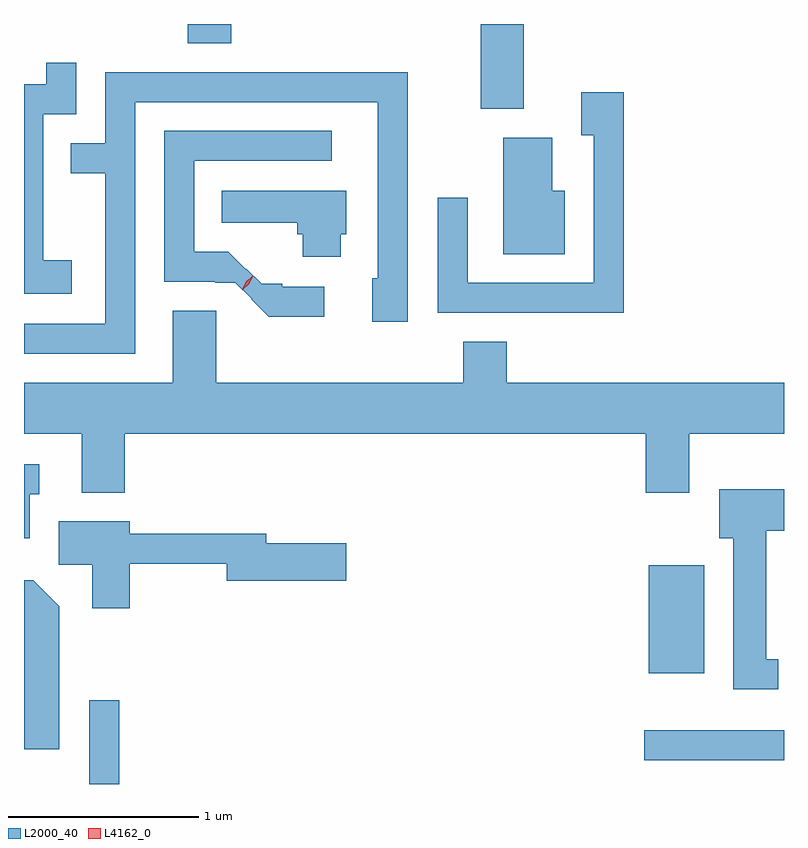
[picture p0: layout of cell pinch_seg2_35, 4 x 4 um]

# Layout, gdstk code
import gdstk
lib = gdstk.Library(unit=1e-6, precision=1e-09)
def R(c, l, rs):  # rectangles x0, y0, x1, y1
    for r in rs: c.add(gdstk.rectangle(r[:2], r[2:], *l))
def P(c, l, *ps):  # polygons
    for p in ps: c.add(gdstk.Polygon(p, *l))
L2000_40 = (2000, 40)
L4162_0 = (4162, 0)

pinch_seg2_35 = lib.new_cell('pinch_seg2_35')
R(pinch_seg2_35, L2000_40, [(825.041,1070.892,825.199,1071.333), (827.963,1071.016,828.698,1071.174), (827.986,1071.476,828.279,1072.044), (827.101,1074.446,827.329,1074.892), (825.561,1074.791,825.789,1074.892)])
P(pinch_seg2_35, L2000_40, [(824.949,1073.649),(824.799,1073.649),(824.799,1074.416),(824.974,1074.416),(824.974,1074.688),(824.816,1074.688),(824.816,1074.574),(824.698,1074.574),(824.698,1073.471),(824.949,1073.471)],
  [(825.284,1074.481),(826.561,1074.481),(826.561,1073.554),(826.531,1073.554),(826.531,1073.326),(826.719,1073.326),(826.719,1074.639),(825.126,1074.639),(825.126,1074.264),(824.943,1074.264),(824.943,1074.106),(825.126,1074.106),(825.126,1073.314),(824.698,1073.314),(824.698,1073.156),(825.284,1073.156)],
  [(827.854,1074.534),(827.631,1074.534),(827.631,1074.306),(827.696,1074.306),(827.696,1073.529),(827.034,1073.529),(827.034,1073.978),(826.876,1073.978),(826.876,1073.371),(827.854,1073.371)],
  [(826.278,1073.509),(826.056,1073.509),(826.056,1073.525),(825.948,1073.525),(825.869,1073.604),(825.866,1073.601),(825.772,1073.694),(825.594,1073.694),(825.594,1074.171),(826.318,1074.171),(826.318,1074.329),(825.436,1074.329),(825.436,1073.536),(825.705,1073.536),(825.705,1073.529),(825.811,1073.529),(825.896,1073.445),(825.895,1073.444),(825.987,1073.351),(826.278,1073.351)],
  [(827.544,1074.014),(827.479,1074.014),(827.479,1074.294),(827.221,1074.294),(827.221,1073.681),(827.544,1073.681)],
  [(826.364,1073.786),(826.394,1073.786),(826.394,1074.014),(825.738,1074.014),(825.738,1073.846),(826.136,1073.846),(826.136,1073.786),(826.166,1073.786),(826.166,1073.666),(826.364,1073.666)],
  [(825.229,1072.736),(827.971,1072.736),(827.971,1072.426),(828.199,1072.426),(828.199,1072.736),(828.698,1072.736),(828.698,1073.004),(827.239,1073.004),(827.239,1073.219),(827.011,1073.219),(827.011,1073.004),(825.709,1073.004),(825.709,1073.384),(825.481,1073.384),(825.481,1073.004),(824.698,1073.004),(824.698,1072.736),(825.001,1072.736),(825.001,1072.426),(825.229,1072.426)],
  [(824.729,1072.416),(824.778,1072.416),(824.778,1072.574),(824.698,1072.574),(824.698,1072.186),(824.729,1072.186)],
  [(828.668,1071.549),(828.604,1071.549),(828.604,1072.226),(828.698,1072.226),(828.698,1072.444),(828.356,1072.444),(828.356,1072.186),(828.431,1072.186),(828.431,1071.391),(828.668,1071.391)],
  [(825.254,1072.051),(825.766,1072.051),(825.766,1071.961),(826.394,1071.961),(826.394,1072.159),(825.974,1072.159),(825.974,1072.209),(825.254,1072.209),(825.254,1072.274),(824.881,1072.274),(824.881,1072.046),(825.056,1072.046),(825.056,1071.816),(825.254,1071.816)],
  [(824.884,1071.827),(824.747,1071.964),(824.698,1071.964),(824.698,1071.076),(824.884,1071.076)])
P(pinch_seg2_35, L4162_0, [(825.848,1073.493),(825.848,1073.494),(825.868,1073.536),(825.903,1073.566),(825.904,1073.566),(825.904,1073.566),(825.884,1073.524),(825.849,1073.493)],
  [(825.849,1073.499),(825.849,1073.5),(825.867,1073.537),(825.899,1073.562),(825.9,1073.562),(825.9,1073.562),(825.882,1073.525),(825.85,1073.499)])

lib.write_gds('pinch_seg2_35.gds')
